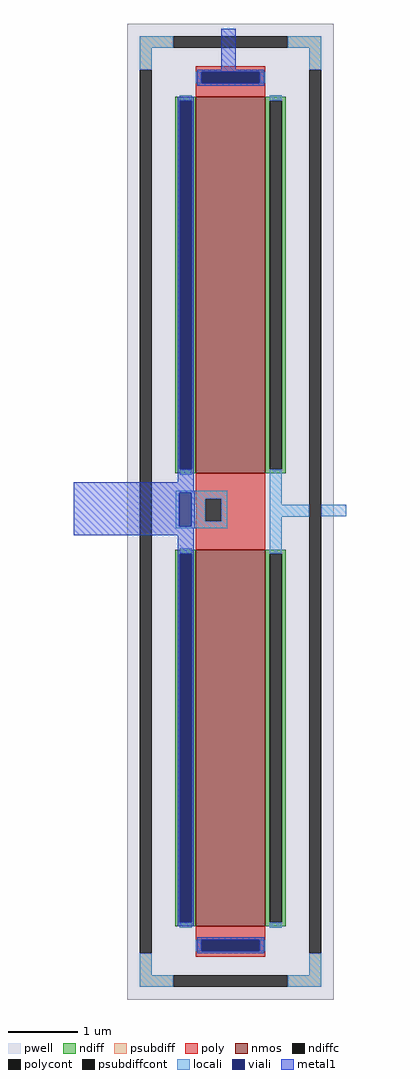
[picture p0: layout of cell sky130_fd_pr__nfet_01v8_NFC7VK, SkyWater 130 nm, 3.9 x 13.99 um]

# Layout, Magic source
magic
tech sky130A
magscale 1 2
<< pwell >>
rect -296 -1399 296 1399
<< nmos >>
rect -100 109 100 1189
rect -100 -1189 100 -109
<< ndiff >>
rect -158 1177 -100 1189
rect -158 121 -146 1177
rect -112 121 -100 1177
rect -158 109 -100 121
rect 100 1177 158 1189
rect 100 121 112 1177
rect 146 121 158 1177
rect 100 109 158 121
rect -158 -121 -100 -109
rect -158 -1177 -146 -121
rect -112 -1177 -100 -121
rect -158 -1189 -100 -1177
rect 100 -121 158 -109
rect 100 -1177 112 -121
rect 146 -1177 158 -121
rect 100 -1189 158 -1177
<< ndiffc >>
rect -146 121 -112 1177
rect 112 121 146 1177
rect -146 -1177 -112 -121
rect 112 -1177 146 -121
<< psubdiff >>
rect -260 1329 -164 1363
rect 164 1329 260 1363
rect -260 1267 -226 1329
rect 226 1267 260 1329
rect -260 -1329 -226 -1267
rect 226 -1329 260 -1267
rect -260 -1363 -164 -1329
rect 164 -1363 260 -1329
<< psubdiffcont >>
rect -164 1329 164 1363
rect -260 -1267 -226 1267
rect 226 -1267 260 1267
rect -164 -1363 164 -1329
<< poly >>
rect -100 1261 100 1277
rect -100 1227 -84 1261
rect 84 1227 100 1261
rect -100 1189 100 1227
rect -100 36 100 109
rect -100 21 -73 36
rect -99 -21 -73 21
rect -100 -28 -73 -21
rect -27 21 100 36
rect -27 -21 99 21
rect -27 -28 100 -21
rect -100 -109 100 -28
rect -100 -1227 100 -1189
rect -100 -1261 -84 -1227
rect 84 -1261 100 -1227
rect -100 -1277 100 -1261
<< polycont >>
rect -84 1227 84 1261
rect -73 -28 -27 36
rect -84 -1261 84 -1227
<< locali >>
rect -260 1329 -164 1363
rect 164 1329 260 1363
rect -260 1267 -226 1329
rect 226 1267 260 1329
rect -100 1227 -84 1261
rect 84 1227 100 1261
rect -146 1177 -112 1193
rect -146 105 -112 121
rect 112 1177 146 1193
rect -157 54 -9 60
rect -157 -42 -147 54
rect -113 36 -9 54
rect -113 -28 -73 36
rect -27 -28 -9 36
rect -113 -42 -9 -28
rect -157 -48 -9 -42
rect 112 19 146 121
rect 112 -15 226 19
rect -146 -121 -112 -105
rect -146 -1193 -112 -1177
rect 112 -121 146 -15
rect 112 -1193 146 -1177
rect -100 -1261 -84 -1227
rect 84 -1261 100 -1227
rect -260 -1329 -226 -1267
rect 260 -14 331 20
rect 226 -1329 260 -1267
rect -260 -1363 -164 -1329
rect 164 -1363 260 -1329
<< viali >>
rect -84 1227 84 1261
rect -146 121 -112 1177
rect -147 -42 -113 54
rect -146 -1177 -112 -121
rect -84 -1261 84 -1227
<< metal1 >>
rect -27 1267 15 1384
rect -96 1261 96 1267
rect -96 1227 -84 1261
rect 84 1227 96 1261
rect -96 1221 96 1227
rect -27 1220 15 1221
rect -152 1177 -106 1189
rect -152 121 -146 1177
rect -112 121 -106 1177
rect -152 84 -106 121
rect -449 60 -106 84
rect -449 54 -103 60
rect -449 -42 -147 54
rect -113 -42 -103 54
rect -449 -48 -103 -42
rect -449 -68 -106 -48
rect -152 -121 -106 -68
rect -152 -1177 -146 -121
rect -112 -1177 -106 -121
rect -152 -1189 -106 -1177
rect -96 -1227 96 -1221
rect -96 -1261 -84 -1227
rect 84 -1261 96 -1227
rect -96 -1267 96 -1261
<< properties >>
string FIXED_BBOX -243 -1346 243 1346
string gencell sky130_fd_pr__nfet_01v8
string library sky130
string parameters w 5.4 l 1 m 2 nf 1 diffcov 100 polycov 100 guard 1 glc 1 grc 1 gtc 1 gbc 1 tbcov 100 rlcov 100 topc 1 botc 1 poverlap 0 doverlap 1 lmin 0.15 wmin 0.42 compatible {sky130_fd_pr__nfet_01v8 sky130_fd_pr__nfet_01v8_lvt  sky130_fd_bs_flash__special_sonosfet_star  sky130_fd_pr__nfet_g5v0d10v5 sky130_fd_pr__nfet_05v0_nvt  sky130_fd_pr__nfet_03v3_nvt} full_metal 1 viasrc 100 viadrn 100 viagate 100 viagb 0 viagr 0 viagl 0 viagt 0
<< end >>
